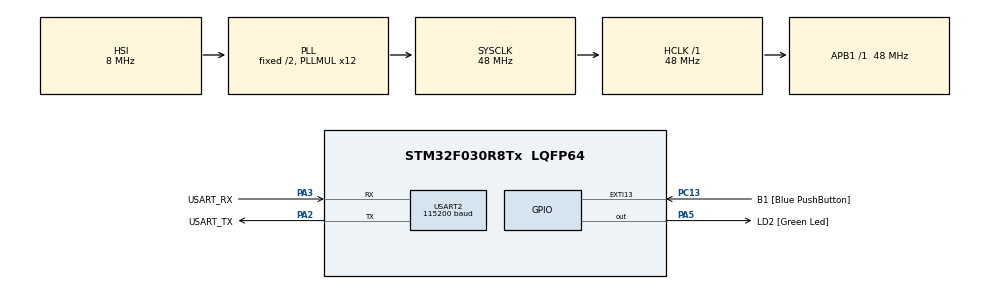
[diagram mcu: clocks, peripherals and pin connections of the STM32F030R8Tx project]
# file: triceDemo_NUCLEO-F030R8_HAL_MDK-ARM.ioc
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Dma.Request0=USART2_TX
Dma.USART2_TX.0.Direction=DMA_MEMORY_TO_PERIPH
Dma.USART2_TX.0.Instance=DMA1_Channel4
Dma.USART2_TX.0.MemDataAlignment=DMA_MDATAALIGN_BYTE
Dma.USART2_TX.0.MemInc=DMA_MINC_ENABLE
Dma.USART2_TX.0.Mode=DMA_NORMAL
Dma.USART2_TX.0.PeriphDataAlignment=DMA_PDATAALIGN_BYTE
Dma.USART2_TX.0.PeriphInc=DMA_PINC_DISABLE
Dma.USART2_TX.0.Priority=DMA_PRIORITY_LOW
Mcu.Family=STM32F0
Mcu.Name=STM32F030R8Tx
Mcu.Package=LQFP64
NVIC.DMA1_Channel4_5_IRQn=true\:0\:0\:false\:false\:true\:false\:true
NVIC.USART2_IRQn=true\:0\:0\:false\:false\:true\:true\:true
PA13.GPIO_Label=TMS
PA13.Mode=Serial_Wire
PA13.Signal=SYS_SWDIO
PA14.GPIO_Label=TCK
PA14.Mode=Serial_Wire
PA14.Signal=SYS_SWCLK
PA2.GPIO_Label=USART_TX
PA2.GPIO_Mode=GPIO_MODE_AF_PP
PA2.GPIO_PuPd=GPIO_NOPULL
PA2.GPIO_Speed=GPIO_SPEED_FREQ_LOW
PA2.Mode=Asynchronous
PA2.Signal=USART2_TX
PA3.GPIO_Label=USART_RX
PA3.GPIO_Mode=GPIO_MODE_AF_PP
PA3.GPIO_PuPd=GPIO_NOPULL
PA3.GPIO_Speed=GPIO_SPEED_FREQ_LOW
PA3.Mode=Asynchronous
PA3.Signal=USART2_RX
PA5.GPIO_Label=LD2 [Green Led]
PA5.GPIO_Mode=GPIO_MODE_OUTPUT_PP
PA5.GPIO_PuPd=GPIO_NOPULL
PA5.GPIO_Speed=GPIO_SPEED_FREQ_LOW
PA5.Signal=GPIO_Output
PC13.GPIO_Label=B1 [Blue PushButton]
PC13.GPIO_ModeDefaultEXTI=GPIO_MODE_IT_FALLING
PC13.Signal=GPXTI13
PC14-OSC32_IN.Mode=LSE-External-Oscillator
PC14-OSC32_IN.Signal=RCC_OSC32_IN
PC15-OSC32_OUT.Mode=LSE-External-Oscillator
PC15-OSC32_OUT.Signal=RCC_OSC32_OUT
PF0-OSC_IN.Mode=HSE-External-Clock-Source
PF0-OSC_IN.Signal=RCC_OSC_IN
PF1-OSC_OUT.Signal=RCC_OSC_OUT
ProjectManager.HeapSize=0x200
ProjectManager.StackSize=0x400
ProjectManager.TargetToolchain=MDK-ARM V5.27
RCC.AHBFreq_Value=48000000
RCC.APB1Freq_Value=48000000
RCC.APB1TimFreq_Value=48000000
RCC.HCLKFreq_Value=48000000
RCC.PLLMUL=RCC_PLL_MUL12
RCC.SYSCLKFreq_VALUE=48000000
RCC.SYSCLKSource=RCC_SYSCLKSOURCE_PLLCLK
USART2.BaudRate=115200
USART2.VirtualMode-Asynchronous=VM_ASYNC
board=NUCLEO-F030R8

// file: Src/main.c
/* USER CODE BEGIN Header */
/**
  ******************************************************************************
  * @file           : main.c
  * @brief          : Main program body
  ******************************************************************************
  * @attention
  *
  * <h2><center>&copy; Copyright (c) 2020 STMicroelectronics.
  * All rights reserved.</center></h2>
  *
  * This software component is licensed by ST under BSD 3-Clause license,
  * the "License"; You may not use this file except in compliance with the
  * License. You may obtain a copy of the License at:
  *                        opensource.org/licenses/BSD-3-Clause
  *
  ******************************************************************************
  */
/* USER CODE END Header */

#include "main.h"

/* USER CODE BEGIN Includes */
#include "trice.h"
/* USER CODE END Includes */

UART_HandleTypeDef huart2;
DMA_HandleTypeDef hdma_usart2_tx;

void SystemClock_Config(void);
static void MX_GPIO_Init(void);
static void MX_DMA_Init(void);
static void MX_USART2_UART_Init(void);

int main(void)
{
  /* USER CODE BEGIN 1 */
#ifdef ENCRYPT
    InitXteaTable();
#endif
  /* USER CODE END 1 */

  /* MCU Configuration--------------------------------------------------------*/

  /* Reset of all peripherals, Initializes the Flash interface and the Systick. */
  HAL_Init();

  /* Configure the system clock */
  SystemClock_Config();

  /* Initialize all configured peripherals */
  MX_GPIO_Init();
  MX_DMA_Init();
  MX_USART2_UART_Init();

  /* Infinite loop */
  /* USER CODE BEGIN WHILE */
    TRICE16_1( Id( 2625), "TIM:timing      message, SysTick is %6d\n", SYSTICKVAL16 );
    TRICE0( Id(28058), "att:triceDemo_NUCLEO-F030RB_HAL_MDK-ARM\n" );
    TRICE16_1( Id( 2625), "TIM:timing      message, SysTick is %6d\n", SYSTICKVAL16 );
    TRICE16_1( Id( 2625), "TIM:timing      message, SysTick is %6d\n", SYSTICKVAL16 );
    TRICE16_1( Id( 2625), "TIM:timing      message, SysTick is %6d\n", SYSTICKVAL16 );
  while (1)
  {
      //////////////////////////////////////////////////
      // demo trices
      //
      static uint32_t ms_1 = 0;
      uint32_t ms = HAL_GetTick();
      if( ms >= ms_1 + 3000 ){ // every 3 sec
          void triceCheckSet( void );
          triceCheckSet();
          TRICE32_1( Id(29200), "time:ms = %d\n", ms );
          HAL_GPIO_TogglePin(LD2_GPIO_Port, LD2_Pin);
          ms_1 = ms;
      }
      //
      //////////////////////////////////////////////////

      //////////////////////////////////////////////////
      // needed background activity
      //
      triceServeTransmission();
      //
      //////////////////////////////////////////////////
    /* USER CODE END WHILE */

  }
}

void SystemClock_Config(void)
{
  RCC_OscInitTypeDef RCC_OscInitStruct = {0};
  RCC_ClkInitTypeDef RCC_ClkInitStruct = {0};

  /** Initializes the CPU, AHB and APB busses clocks
  */
  RCC_OscInitStruct.OscillatorType = RCC_OSCILLATORTYPE_HSI;
  RCC_OscInitStruct.HSIState = RCC_HSI_ON;
  RCC_OscInitStruct.HSICalibrationValue = RCC_HSICALIBRATION_DEFAULT;
  RCC_OscInitStruct.PLL.PLLState = RCC_PLL_ON;
  RCC_OscInitStruct.PLL.PLLSource = RCC_PLLSOURCE_HSI;
  RCC_OscInitStruct.PLL.PLLMUL = RCC_PLL_MUL12;
  RCC_OscInitStruct.PLL.PREDIV = RCC_PREDIV_DIV1;
  if (HAL_RCC_OscConfig(&RCC_OscInitStruct) != HAL_OK)
  {
    Error_Handler();
  }
  /** Initializes the CPU, AHB and APB busses clocks
  */
  RCC_ClkInitStruct.ClockType = RCC_CLOCKTYPE_HCLK|RCC_CLOCKTYPE_SYSCLK
                              |RCC_CLOCKTYPE_PCLK1;
  RCC_ClkInitStruct.SYSCLKSource = RCC_SYSCLKSOURCE_PLLCLK;
  RCC_ClkInitStruct.AHBCLKDivider = RCC_SYSCLK_DIV1;
  RCC_ClkInitStruct.APB1CLKDivider = RCC_HCLK_DIV1;

  if (HAL_RCC_ClockConfig(&RCC_ClkInitStruct, FLASH_LATENCY_1) != HAL_OK)
  {
    Error_Handler();
  }
}

static void MX_USART2_UART_Init(void)
{

  huart2.Instance = USART2;
  huart2.Init.BaudRate = 115200;
  huart2.Init.WordLength = UART_WORDLENGTH_8B;
  huart2.Init.StopBits = UART_STOPBITS_1;
  huart2.Init.Parity = UART_PARITY_NONE;
  huart2.Init.Mode = UART_MODE_TX_RX;
  huart2.Init.HwFlowCtl = UART_HWCONTROL_NONE;
  huart2.Init.OverSampling = UART_OVERSAMPLING_16;
  huart2.Init.OneBitSampling = UART_ONE_BIT_SAMPLE_DISABLE;
  huart2.AdvancedInit.AdvFeatureInit = UART_ADVFEATURE_NO_INIT;
  if (HAL_UART_Init(&huart2) != HAL_OK)
  {
    Error_Handler();
  }

}

static void MX_DMA_Init(void)
{

  /* DMA controller clock enable */
  __HAL_RCC_DMA1_CLK_ENABLE();

  /* DMA interrupt init */
  /* DMA1_Channel4_5_IRQn interrupt configuration */
  HAL_NVIC_SetPriority(DMA1_Channel4_5_IRQn, 0, 0);
  HAL_NVIC_EnableIRQ(DMA1_Channel4_5_IRQn);

}

static void MX_GPIO_Init(void)
{
  GPIO_InitTypeDef GPIO_InitStruct = {0};

  /* GPIO Ports Clock Enable */
  __HAL_RCC_GPIOC_CLK_ENABLE();
  __HAL_RCC_GPIOF_CLK_ENABLE();
  __HAL_RCC_GPIOA_CLK_ENABLE();

  /*Configure GPIO pin Output Level */
  HAL_GPIO_WritePin(LD2_GPIO_Port, LD2_Pin, GPIO_PIN_RESET);

  /*Configure GPIO pin : B1_Pin */
  GPIO_InitStruct.Pin = B1_Pin;
  GPIO_InitStruct.Mode = GPIO_MODE_IT_FALLING;
  GPIO_InitStruct.Pull = GPIO_NOPULL;
  HAL_GPIO_Init(B1_GPIO_Port, &GPIO_InitStruct);

  /*Configure GPIO pin : LD2_Pin */
  GPIO_InitStruct.Pin = LD2_Pin;
  GPIO_InitStruct.Mode = GPIO_MODE_OUTPUT_PP;
  GPIO_InitStruct.Pull = GPIO_NOPULL;
  GPIO_InitStruct.Speed = GPIO_SPEED_FREQ_LOW;
  HAL_GPIO_Init(LD2_GPIO_Port, &GPIO_InitStruct);

}

void Error_Handler(void)
{
}

/************************ (C) COPYRIGHT STMicroelectronics *****END OF FILE****/
